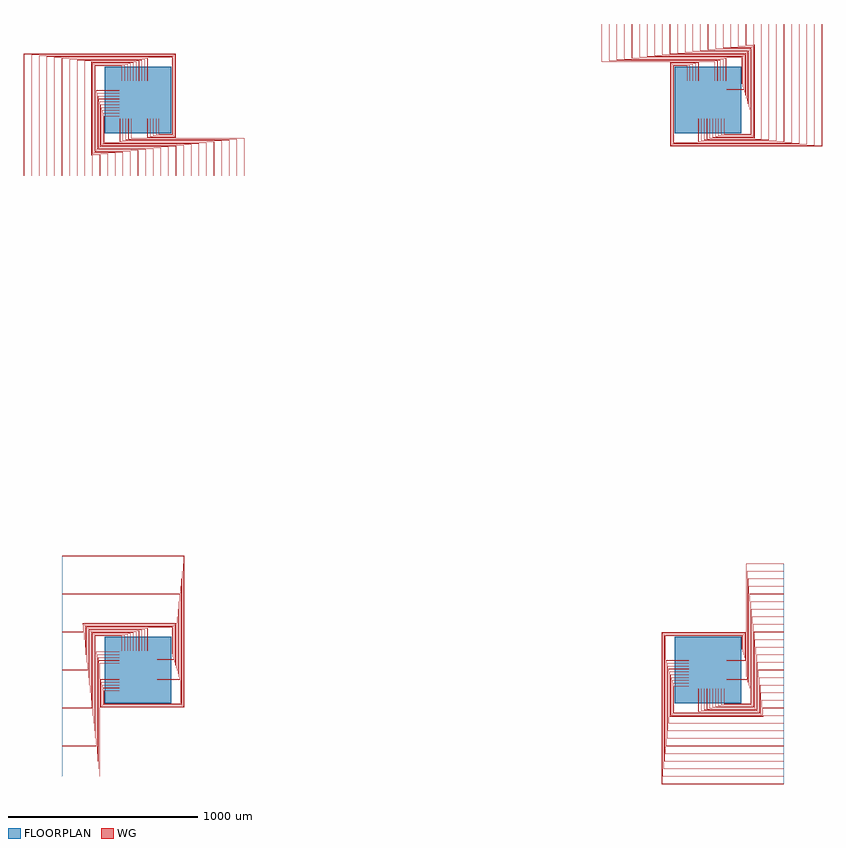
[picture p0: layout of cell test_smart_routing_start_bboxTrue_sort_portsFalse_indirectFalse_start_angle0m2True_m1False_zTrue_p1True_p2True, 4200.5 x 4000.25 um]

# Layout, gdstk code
import gdstk
lib = gdstk.Library(unit=1e-6, precision=1e-09)
def R(c, l, rs):  # rectangles x0, y0, x1, y1
    for r in rs: c.add(gdstk.rectangle(r[:2], r[2:], *l))
def P(c, l, *ps):  # polygons
    for p in ps: c.add(gdstk.Polygon(p, *l))
WG = (1, 0)
FLOORPLAN = (10, 0)

test_smart_routing_start = lib.new_cell('test_smart_routing_start_bboxTrue_sort_portsFalse_indirectFalse_start_angle0m2True_m1False_zTrue_p1True_p2True')
P(test_smart_routing_start, WG, [(2802.8,2757.8),(2802.8,3197.2),(2949.95,3197.2),(2949.95,3100),(2949.75,3100),(2949.75,3197),(2803,3197),(2803,2758),(3599.75,2758),(3599.75,3400),(3599.95,3400),(3599.95,2757.8)],
  [(2802.5,2757.5),(2802.5,3197.5),(2950.25,3197.5),(2950.25,3100),(2950.05,3100),(2950.05,3197.3),(2802.7,3197.3),(2802.7,2757.7),(3600.05,2757.7),(3600.05,3400),(3600.25,3400),(3600.25,2757.5)],
  [(2807.3,2762.3),(2807.3,3192.7),(2934.95,3192.7),(2934.95,3100),(2934.75,3100),(2934.75,3192.5),(2807.5,3192.5),(2807.5,2762.5),(3559.75,2762.5),(3559.75,3400),(3559.95,3400),(3559.95,2762.3)],
  [(2807,2762),(2807,3193),(2935.25,3193),(2935.25,3100),(2935.05,3100),(2935.05,3192.8),(2807.2,3192.8),(2807.2,2762.2),(3560.05,2762.2),(3560.05,3400),(3560.25,3400),(3560.25,2762)],
  [(2811.8,2766.8),(2811.8,3188.2),(2919.95,3188.2),(2919.95,3100),(2919.75,3100),(2919.75,3188),(2812,3188),(2812,2767),(3519.75,2767),(3519.75,3400),(3519.95,3400),(3519.95,2766.8)],
  [(2811.5,2766.5),(2811.5,3188.5),(2920.25,3188.5),(2920.25,3100),(2920.05,3100),(2920.05,3188.3),(2811.7,3188.3),(2811.7,2766.7),(3520.05,2766.7),(3520.05,3400),(3520.25,3400),(3520.25,2766.5)],
  [(2816.3,2771.3),(2816.3,3183.7),(2904.95,3183.7),(2904.95,3100),(2904.75,3100),(2904.75,3183.5),(2816.5,3183.5),(2816.5,2771.5),(3479.75,2771.5),(3479.75,3400),(3479.95,3400),(3479.95,2771.3)],
  [(2816,2771),(2816,3184),(2905.25,3184),(2905.25,3100),(2905.05,3100),(2905.05,3183.8),(2816.2,3183.8),(2816.2,2771.2),(3480.05,2771.2),(3480.05,3400),(3480.25,3400),(3480.25,2771)],
  [(2820.8,2775.8),(2820.8,3179.2),(2889.95,3179.2),(2889.95,3100),(2889.75,3100),(2889.75,3179),(2821,3179),(2821,2776),(3439.75,2776),(3439.75,3400),(3439.95,3400),(3439.95,2775.8)],
  [(2820.5,2775.5),(2820.5,3179.5),(2890.25,3179.5),(2890.25,3100),(2890.05,3100),(2890.05,3179.3),(2820.7,3179.3),(2820.7,2775.7),(3440.05,2775.7),(3440.05,3400),(3440.25,3400),(3440.25,2775.5)],
  [(2950.05,2780.3),(2950.05,2900),(2950.25,2900),(2950.25,2780.5),(3399.75,2780.5),(3399.75,3400),(3399.95,3400),(3399.95,2780.3)],
  [(2949.75,2780),(2949.75,2900),(2949.95,2900),(2949.95,2780.2),(3400.05,2780.2),(3400.05,3400),(3400.25,3400),(3400.25,2780)],
  [(2965.05,2784.8),(2965.05,2900),(2965.25,2900),(2965.25,2785),(3359.75,2785),(3359.75,3400),(3359.95,3400),(3359.95,2784.8)],
  [(2964.75,2784.5),(2964.75,2900),(2964.95,2900),(2964.95,2784.7),(3360.05,2784.7),(3360.05,3400),(3360.25,3400),(3360.25,2784.5)],
  [(2980.05,2789.3),(2980.05,2900),(2980.25,2900),(2980.25,2789.5),(3319.75,2789.5),(3319.75,3400),(3319.95,3400),(3319.95,2789.3)],
  [(2979.75,2789),(2979.75,2900),(2979.95,2900),(2979.95,2789.2),(3320.05,2789.2),(3320.05,3400),(3320.25,3400),(3320.25,2789)],
  [(2995.05,2793.8),(2995.05,2900),(2995.25,2900),(2995.25,2794),(3279.75,2794),(3279.75,3400),(3279.95,3400),(3279.95,2793.8)],
  [(2994.75,2793.5),(2994.75,2900),(2994.95,2900),(2994.95,2793.7),(3280.05,2793.7),(3280.05,3400),(3280.25,3400),(3280.25,2793.5)],
  [(3010.05,2798.3),(3010.05,2900),(3010.25,2900),(3010.25,2798.5),(3246.5,2798.5),(3246.5,3291.5),(3239.75,3291.5),(3239.75,3400),(3239.95,3400),(3239.95,3291.7),(3246.7,3291.7),(3246.7,2798.3)],
  [(3009.75,2798),(3009.75,2900),(3009.95,2900),(3009.95,2798.2),(3246.8,2798.2),(3246.8,3291.8),(3240.05,3291.8),(3240.05,3400),(3240.25,3400),(3240.25,3292),(3247,3292),(3247,2798)],
  [(3025.05,2802.8),(3025.05,2900),(3025.25,2900),(3025.25,2803),(3242,2803),(3242,3287),(3199.75,3287),(3199.75,3400),(3199.95,3400),(3199.95,3287.2),(3242.2,3287.2),(3242.2,2802.8)],
  [(3024.75,2802.5),(3024.75,2900),(3024.95,2900),(3024.95,2802.7),(3242.3,2802.7),(3242.3,3287.3),(3200.05,3287.3),(3200.05,3400),(3200.25,3400),(3200.25,3287.5),(3242.5,3287.5),(3242.5,2802.5)],
  [(3040.05,2807.3),(3040.05,2900),(3040.25,2900),(3040.25,2807.5),(3237.5,2807.5),(3237.5,3282.5),(3159.75,3282.5),(3159.75,3400),(3159.95,3400),(3159.95,3282.7),(3237.7,3282.7),(3237.7,2807.3)],
  [(3039.75,2807),(3039.75,2900),(3039.95,2900),(3039.95,2807.2),(3237.8,2807.2),(3237.8,3282.8),(3160.05,3282.8),(3160.05,3400),(3160.25,3400),(3160.25,3283),(3238,3283),(3238,2807)],
  [(3055.05,2811.8),(3055.05,2900),(3055.25,2900),(3055.25,2812),(3233,2812),(3233,3278),(3119.75,3278),(3119.75,3400),(3119.95,3400),(3119.95,3278.2),(3233.2,3278.2),(3233.2,2811.8)],
  [(3054.75,2811.5),(3054.75,2900),(3054.95,2900),(3054.95,2811.7),(3233.3,2811.7),(3233.3,3278.3),(3120.05,3278.3),(3120.05,3400),(3120.25,3400),(3120.25,3278.5),(3233.5,3278.5),(3233.5,2811.5)],
  [(3070.05,2816.3),(3070.05,2900),(3070.25,2900),(3070.25,2816.5),(3228.5,2816.5),(3228.5,3273.5),(3079.75,3273.5),(3079.75,3400),(3079.95,3400),(3079.95,3273.7),(3228.7,3273.7),(3228.7,2816.3)],
  [(3069.75,2816),(3069.75,2900),(3069.95,2900),(3069.95,2816.2),(3228.8,2816.2),(3228.8,3273.8),(3080.05,3273.8),(3080.05,3400),(3080.25,3400),(3080.25,3274),(3229,3274),(3229,2816)],
  [(3085.05,2820.8),(3085.05,2900),(3085.25,2900),(3085.25,2821),(3224,2821),(3224,3269),(3039.75,3269),(3039.75,3400),(3039.95,3400),(3039.95,3269.2),(3224.2,3269.2),(3224.2,2820.8)],
  [(3084.75,2820.5),(3084.75,2900),(3084.95,2900),(3084.95,2820.7),(3224.3,2820.7),(3224.3,3269.3),(3040.05,3269.3),(3040.05,3400),(3040.25,3400),(3040.25,3269.5),(3224.5,3269.5),(3224.5,2820.5)],
  [(3100,2950.05),(3100,2950.25),(3219.5,2950.25),(3219.5,3264.5),(2999.75,3264.5),(2999.75,3400),(2999.95,3400),(2999.95,3264.7),(3219.7,3264.7),(3219.7,2950.05)],
  [(3100,2949.75),(3100,2949.95),(3219.8,2949.95),(3219.8,3264.8),(3000.05,3264.8),(3000.05,3400),(3000.25,3400),(3000.25,3265),(3220,3265),(3220,2949.75)],
  [(3100,2965.05),(3100,2965.25),(3215,2965.25),(3215,3260),(2959.75,3260),(2959.75,3400),(2959.95,3400),(2959.95,3260.2),(3215.2,3260.2),(3215.2,2965.05)],
  [(3100,2964.75),(3100,2964.95),(3215.3,2964.95),(3215.3,3260.3),(2960.05,3260.3),(2960.05,3400),(2960.25,3400),(2960.25,3260.5),(3215.5,3260.5),(3215.5,2964.75)],
  [(3100,2980.05),(3100,2980.25),(3210.5,2980.25),(3210.5,3255.5),(2919.75,3255.5),(2919.75,3400),(2919.95,3400),(2919.95,3255.7),(3210.7,3255.7),(3210.7,2980.05)],
  [(3100,2979.75),(3100,2979.95),(3210.8,2979.95),(3210.8,3255.8),(2920.05,3255.8),(2920.05,3400),(2920.25,3400),(2920.25,3256),(3211,3256),(3211,2979.75)],
  [(3100,2995.05),(3100,2995.25),(3206,2995.25),(3206,3251),(2879.75,3251),(2879.75,3400),(2879.95,3400),(2879.95,3251.2),(3206.2,3251.2),(3206.2,2995.05)],
  [(3100,2994.75),(3100,2994.95),(3206.3,2994.95),(3206.3,3251.3),(2880.05,3251.3),(2880.05,3400),(2880.25,3400),(2880.25,3251.5),(3206.5,3251.5),(3206.5,2994.75)],
  [(3100,3010.05),(3100,3010.25),(3201.5,3010.25),(3201.5,3246.5),(2839.75,3246.5),(2839.75,3400),(2839.95,3400),(2839.95,3246.7),(3201.7,3246.7),(3201.7,3010.05)],
  [(3100,3009.75),(3100,3009.95),(3201.8,3009.95),(3201.8,3246.8),(2840.05,3246.8),(2840.05,3400),(2840.25,3400),(2840.25,3247),(3202,3247),(3202,3009.75)],
  [(3100,3025.05),(3100,3025.25),(3197,3025.25),(3197,3242),(2799.75,3242),(2799.75,3400),(2799.95,3400),(2799.95,3242.2),(3197.2,3242.2),(3197.2,3025.05)],
  [(3100,3024.75),(3100,3024.95),(3197.3,3024.95),(3197.3,3242.3),(2800.05,3242.3),(2800.05,3400),(2800.25,3400),(2800.25,3242.5),(3197.5,3242.5),(3197.5,3024.75)],
  [(3100,3040.05),(3100,3040.25),(3192.5,3040.25),(3192.5,3237.5),(2759.75,3237.5),(2759.75,3400),(2759.95,3400),(2759.95,3237.7),(3192.7,3237.7),(3192.7,3040.05)],
  [(3100,3039.75),(3100,3039.95),(3192.8,3039.95),(3192.8,3237.8),(2760.05,3237.8),(2760.05,3400),(2760.25,3400),(2760.25,3238),(3193,3238),(3193,3039.75)],
  [(3100,3055.05),(3100,3055.25),(3188,3055.25),(3188,3233),(2719.75,3233),(2719.75,3400),(2719.95,3400),(2719.95,3233.2),(3188.2,3233.2),(3188.2,3055.05)],
  [(3100,3054.75),(3100,3054.95),(3188.3,3054.95),(3188.3,3233.3),(2720.05,3233.3),(2720.05,3400),(2720.25,3400),(2720.25,3233.5),(3188.5,3233.5),(3188.5,3054.75)],
  [(3100,3070.05),(3100,3070.25),(3183.5,3070.25),(3183.5,3228.5),(2679.75,3228.5),(2679.75,3400),(2679.95,3400),(2679.95,3228.7),(3183.7,3228.7),(3183.7,3070.05)],
  [(3100,3069.75),(3100,3069.95),(3183.8,3069.95),(3183.8,3228.8),(2680.05,3228.8),(2680.05,3400),(2680.25,3400),(2680.25,3229),(3184,3229),(3184,3069.75)],
  [(3100,3085.05),(3100,3085.25),(3179,3085.25),(3179,3224),(2639.75,3224),(2639.75,3400),(2639.95,3400),(2639.95,3224.2),(3179.2,3224.2),(3179.2,3085.05)],
  [(3100,3084.75),(3100,3084.95),(3179.3,3084.95),(3179.3,3224.3),(2640.05,3224.3),(2640.05,3400),(2640.25,3400),(2640.25,3224.5),(3179.5,3224.5),(3179.5,3084.75)],
  [(3034.75,3100),(3034.75,3201.5),(2439.75,3201.5),(2439.75,3400),(2439.95,3400),(2439.95,3201.7),(3034.95,3201.7),(3034.95,3100)],
  [(3035.05,3100),(3035.05,3201.8),(2440.05,3201.8),(2440.05,3400),(2440.25,3400),(2440.25,3202),(3035.25,3202),(3035.25,3100)],
  [(3049.75,3100),(3049.75,3206),(2479.75,3206),(2479.75,3400),(2479.95,3400),(2479.95,3206.2),(3049.95,3206.2),(3049.95,3100)],
  [(3050.05,3100),(3050.05,3206.3),(2480.05,3206.3),(2480.05,3400),(2480.25,3400),(2480.25,3206.5),(3050.25,3206.5),(3050.25,3100)],
  [(3064.75,3100),(3064.75,3210.5),(2519.75,3210.5),(2519.75,3400),(2519.95,3400),(2519.95,3210.7),(3064.95,3210.7),(3064.95,3100)],
  [(3065.05,3100),(3065.05,3210.8),(2520.05,3210.8),(2520.05,3400),(2520.25,3400),(2520.25,3211),(3065.25,3211),(3065.25,3100)],
  [(3079.75,3100),(3079.75,3215),(2559.75,3215),(2559.75,3400),(2559.95,3400),(2559.95,3215.2),(3079.95,3215.2),(3079.95,3100)],
  [(3080.05,3100),(3080.05,3215.3),(2560.05,3215.3),(2560.05,3400),(2560.25,3400),(2560.25,3215.5),(3080.25,3215.5),(3080.25,3100)],
  [(3094.75,3100),(3094.75,3219.5),(2599.75,3219.5),(2599.75,3400),(2599.95,3400),(2599.95,3219.7),(3094.95,3219.7),(3094.95,3100)],
  [(3095.05,3100),(3095.05,3219.8),(2600.05,3219.8),(2600.05,3400),(2600.25,3400),(2600.25,3220),(3095.25,3220),(3095.25,3100)],
  [(-599.95,2600),(-599.95,3242.2),(197.2,3242.2),(197.2,2802.8),(50.05,2802.8),(50.05,2900),(50.25,2900),(50.25,2803),(197,2803),(197,3242),(-599.75,3242),(-599.75,2600)],
  [(-600.25,2600),(-600.25,3242.5),(197.5,3242.5),(197.5,2802.5),(49.75,2802.5),(49.75,2900),(49.95,2900),(49.95,2802.7),(197.3,2802.7),(197.3,3242.3),(-600.05,3242.3),(-600.05,2600)],
  [(-559.95,2600),(-559.95,3237.7),(192.7,3237.7),(192.7,2807.3),(65.05,2807.3),(65.05,2900),(65.25,2900),(65.25,2807.5),(192.5,2807.5),(192.5,3237.5),(-559.75,3237.5),(-559.75,2600)],
  [(-560.25,2600),(-560.25,3238),(193,3238),(193,2807),(64.75,2807),(64.75,2900),(64.95,2900),(64.95,2807.2),(192.8,2807.2),(192.8,3237.8),(-560.05,3237.8),(-560.05,2600)],
  [(-519.95,2600),(-519.95,3233.2),(188.2,3233.2),(188.2,2811.8),(80.05,2811.8),(80.05,2900),(80.25,2900),(80.25,2812),(188,2812),(188,3233),(-519.75,3233),(-519.75,2600)],
  [(-520.25,2600),(-520.25,3233.5),(188.5,3233.5),(188.5,2811.5),(79.75,2811.5),(79.75,2900),(79.95,2900),(79.95,2811.7),(188.3,2811.7),(188.3,3233.3),(-520.05,3233.3),(-520.05,2600)],
  [(-479.95,2600),(-479.95,3228.7),(183.7,3228.7),(183.7,2816.3),(95.05,2816.3),(95.05,2900),(95.25,2900),(95.25,2816.5),(183.5,2816.5),(183.5,3228.5),(-479.75,3228.5),(-479.75,2600)],
  [(-480.25,2600),(-480.25,3229),(184,3229),(184,2816),(94.75,2816),(94.75,2900),(94.95,2900),(94.95,2816.2),(183.8,2816.2),(183.8,3228.8),(-480.05,3228.8),(-480.05,2600)],
  [(-439.95,2600),(-439.95,3224.2),(179.2,3224.2),(179.2,2820.8),(110.05,2820.8),(110.05,2900),(110.25,2900),(110.25,2821),(179,2821),(179,3224),(-439.75,3224),(-439.75,2600)],
  [(-440.25,2600),(-440.25,3224.5),(179.5,3224.5),(179.5,2820.5),(109.75,2820.5),(109.75,2900),(109.95,2900),(109.95,2820.7),(179.3,2820.7),(179.3,3224.3),(-440.05,3224.3),(-440.05,2600)],
  [(-399.95,2600),(-399.95,3219.7),(49.95,3219.7),(49.95,3100),(49.75,3100),(49.75,3219.5),(-399.75,3219.5),(-399.75,2600)],
  [(-400.25,2600),(-400.25,3220),(50.25,3220),(50.25,3100),(50.05,3100),(50.05,3219.8),(-400.05,3219.8),(-400.05,2600)],
  [(-359.95,2600),(-359.95,3215.2),(34.95,3215.2),(34.95,3100),(34.75,3100),(34.75,3215),(-359.75,3215),(-359.75,2600)],
  [(-360.25,2600),(-360.25,3215.5),(35.25,3215.5),(35.25,3100),(35.05,3100),(35.05,3215.3),(-360.05,3215.3),(-360.05,2600)],
  [(-319.95,2600),(-319.95,3210.7),(19.95,3210.7),(19.95,3100),(19.75,3100),(19.75,3210.5),(-319.75,3210.5),(-319.75,2600)],
  [(-320.25,2600),(-320.25,3211),(20.25,3211),(20.25,3100),(20.05,3100),(20.05,3210.8),(-320.05,3210.8),(-320.05,2600)],
  [(-279.95,2600),(-279.95,3206.2),(4.95,3206.2),(4.95,3100),(4.75,3100),(4.75,3206),(-279.75,3206),(-279.75,2600)],
  [(-280.25,2600),(-280.25,3206.5),(5.25,3206.5),(5.25,3100),(5.05,3100),(5.05,3206.3),(-280.05,3206.3),(-280.05,2600)],
  [(-239.95,2600),(-239.95,2708.3),(-246.7,2708.3),(-246.7,3201.7),(-10.05,3201.7),(-10.05,3100),(-10.25,3100),(-10.25,3201.5),(-246.5,3201.5),(-246.5,2708.5),(-239.75,2708.5),(-239.75,2600)],
  [(-240.25,2600),(-240.25,2708),(-247,2708),(-247,3202),(-9.75,3202),(-9.75,3100),(-9.95,3100),(-9.95,3201.8),(-246.8,3201.8),(-246.8,2708.2),(-240.05,2708.2),(-240.05,2600)],
  [(-199.95,2600),(-199.95,2712.8),(-242.2,2712.8),(-242.2,3197.2),(-25.05,3197.2),(-25.05,3100),(-25.25,3100),(-25.25,3197),(-242,3197),(-242,2713),(-199.75,2713),(-199.75,2600)],
  [(-200.25,2600),(-200.25,2712.5),(-242.5,2712.5),(-242.5,3197.5),(-24.75,3197.5),(-24.75,3100),(-24.95,3100),(-24.95,3197.3),(-242.3,3197.3),(-242.3,2712.7),(-200.05,2712.7),(-200.05,2600)],
  [(-159.95,2600),(-159.95,2717.3),(-237.7,2717.3),(-237.7,3192.7),(-40.05,3192.7),(-40.05,3100),(-40.25,3100),(-40.25,3192.5),(-237.5,3192.5),(-237.5,2717.5),(-159.75,2717.5),(-159.75,2600)],
  [(-160.25,2600),(-160.25,2717),(-238,2717),(-238,3193),(-39.75,3193),(-39.75,3100),(-39.95,3100),(-39.95,3192.8),(-237.8,3192.8),(-237.8,2717.2),(-160.05,2717.2),(-160.05,2600)],
  [(-119.95,2600),(-119.95,2721.8),(-233.2,2721.8),(-233.2,3188.2),(-55.05,3188.2),(-55.05,3100),(-55.25,3100),(-55.25,3188),(-233,3188),(-233,2722),(-119.75,2722),(-119.75,2600)],
  [(-120.25,2600),(-120.25,2721.5),(-233.5,2721.5),(-233.5,3188.5),(-54.75,3188.5),(-54.75,3100),(-54.95,3100),(-54.95,3188.3),(-233.3,3188.3),(-233.3,2721.7),(-120.05,2721.7),(-120.05,2600)],
  [(-79.95,2600),(-79.95,2726.3),(-228.7,2726.3),(-228.7,3183.7),(-70.05,3183.7),(-70.05,3100),(-70.25,3100),(-70.25,3183.5),(-228.5,3183.5),(-228.5,2726.5),(-79.75,2726.5),(-79.75,2600)],
  [(-80.25,2600),(-80.25,2726),(-229,2726),(-229,3184),(-69.75,3184),(-69.75,3100),(-69.95,3100),(-69.95,3183.8),(-228.8,3183.8),(-228.8,2726.2),(-80.05,2726.2),(-80.05,2600)],
  [(-39.95,2600),(-39.95,2730.8),(-224.2,2730.8),(-224.2,3179.2),(-85.05,3179.2),(-85.05,3100),(-85.25,3100),(-85.25,3179),(-224,3179),(-224,2731),(-39.75,2731),(-39.75,2600)],
  [(-40.25,2600),(-40.25,2730.5),(-224.5,2730.5),(-224.5,3179.5),(-84.75,3179.5),(-84.75,3100),(-84.95,3100),(-84.95,3179.3),(-224.3,3179.3),(-224.3,2730.7),(-40.05,2730.7),(-40.05,2600)],
  [(0.05,2600),(0.05,2735.3),(-219.7,2735.3),(-219.7,3049.95),(-100,3049.95),(-100,3049.75),(-219.5,3049.75),(-219.5,2735.5),(0.25,2735.5),(0.25,2600)],
  [(-0.25,2600),(-0.25,2735),(-220,2735),(-220,3050.25),(-100,3050.25),(-100,3050.05),(-219.8,3050.05),(-219.8,2735.2),(-0.05,2735.2),(-0.05,2600)],
  [(40.05,2600),(40.05,2739.8),(-215.2,2739.8),(-215.2,3034.95),(-100,3034.95),(-100,3034.75),(-215,3034.75),(-215,2740),(40.25,2740),(40.25,2600)],
  [(39.75,2600),(39.75,2739.5),(-215.5,2739.5),(-215.5,3035.25),(-100,3035.25),(-100,3035.05),(-215.3,3035.05),(-215.3,2739.7),(39.95,2739.7),(39.95,2600)],
  [(80.05,2600),(80.05,2744.3),(-210.7,2744.3),(-210.7,3019.95),(-100,3019.95),(-100,3019.75),(-210.5,3019.75),(-210.5,2744.5),(80.25,2744.5),(80.25,2600)],
  [(79.75,2600),(79.75,2744),(-211,2744),(-211,3020.25),(-100,3020.25),(-100,3020.05),(-210.8,3020.05),(-210.8,2744.2),(79.95,2744.2),(79.95,2600)],
  [(120.05,2600),(120.05,2748.8),(-206.2,2748.8),(-206.2,3004.95),(-100,3004.95),(-100,3004.75),(-206,3004.75),(-206,2749),(120.25,2749),(120.25,2600)],
  [(119.75,2600),(119.75,2748.5),(-206.5,2748.5),(-206.5,3005.25),(-100,3005.25),(-100,3005.05),(-206.3,3005.05),(-206.3,2748.7),(119.95,2748.7),(119.95,2600)],
  [(160.05,2600),(160.05,2753.3),(-201.7,2753.3),(-201.7,2989.95),(-100,2989.95),(-100,2989.75),(-201.5,2989.75),(-201.5,2753.5),(160.25,2753.5),(160.25,2600)],
  [(159.75,2600),(159.75,2753),(-202,2753),(-202,2990.25),(-100,2990.25),(-100,2990.05),(-201.8,2990.05),(-201.8,2753.2),(159.95,2753.2),(159.95,2600)],
  [(200.05,2600),(200.05,2757.8),(-197.2,2757.8),(-197.2,2974.95),(-100,2974.95),(-100,2974.75),(-197,2974.75),(-197,2758),(200.25,2758),(200.25,2600)],
  [(199.75,2600),(199.75,2757.5),(-197.5,2757.5),(-197.5,2975.25),(-100,2975.25),(-100,2975.05),(-197.3,2975.05),(-197.3,2757.7),(199.95,2757.7),(199.95,2600)],
  [(240.05,2600),(240.05,2762.3),(-192.7,2762.3),(-192.7,2959.95),(-100,2959.95),(-100,2959.75),(-192.5,2959.75),(-192.5,2762.5),(240.25,2762.5),(240.25,2600)],
  [(239.75,2600),(239.75,2762),(-193,2762),(-193,2960.25),(-100,2960.25),(-100,2960.05),(-192.8,2960.05),(-192.8,2762.2),(239.95,2762.2),(239.95,2600)],
  [(280.05,2600),(280.05,2766.8),(-188.2,2766.8),(-188.2,2944.95),(-100,2944.95),(-100,2944.75),(-188,2944.75),(-188,2767),(280.25,2767),(280.25,2600)],
  [(279.75,2600),(279.75,2766.5),(-188.5,2766.5),(-188.5,2945.25),(-100,2945.25),(-100,2945.05),(-188.3,2945.05),(-188.3,2766.7),(279.95,2766.7),(279.95,2600)],
  [(320.05,2600),(320.05,2771.3),(-183.7,2771.3),(-183.7,2929.95),(-100,2929.95),(-100,2929.75),(-183.5,2929.75),(-183.5,2771.5),(320.25,2771.5),(320.25,2600)],
  [(319.75,2600),(319.75,2771),(-184,2771),(-184,2930.25),(-100,2930.25),(-100,2930.05),(-183.8,2930.05),(-183.8,2771.2),(319.95,2771.2),(319.95,2600)],
  [(360.05,2600),(360.05,2775.8),(-179.2,2775.8),(-179.2,2914.95),(-100,2914.95),(-100,2914.75),(-179,2914.75),(-179,2776),(360.25,2776),(360.25,2600)],
  [(359.75,2600),(359.75,2775.5),(-179.5,2775.5),(-179.5,2915.25),(-100,2915.25),(-100,2915.05),(-179.3,2915.05),(-179.3,2775.7),(359.95,2775.7),(359.95,2600)],
  [(559.75,2600),(559.75,2798),(-35.25,2798),(-35.25,2900),(-35.05,2900),(-35.05,2798.2),(559.95,2798.2),(559.95,2600)],
  [(560.05,2600),(560.05,2798.3),(-34.95,2798.3),(-34.95,2900),(-34.75,2900),(-34.75,2798.5),(560.25,2798.5),(560.25,2600)],
  [(519.75,2600),(519.75,2793.5),(-50.25,2793.5),(-50.25,2900),(-50.05,2900),(-50.05,2793.7),(519.95,2793.7),(519.95,2600)],
  [(520.05,2600),(520.05,2793.8),(-49.95,2793.8),(-49.95,2900),(-49.75,2900),(-49.75,2794),(520.25,2794),(520.25,2600)],
  [(479.75,2600),(479.75,2789),(-65.25,2789),(-65.25,2900),(-65.05,2900),(-65.05,2789.2),(479.95,2789.2),(479.95,2600)],
  [(480.05,2600),(480.05,2789.3),(-64.95,2789.3),(-64.95,2900),(-64.75,2900),(-64.75,2789.5),(480.25,2789.5),(480.25,2600)],
  [(439.75,2600),(439.75,2784.5),(-80.25,2784.5),(-80.25,2900),(-80.05,2900),(-80.05,2784.7),(439.95,2784.7),(439.95,2600)],
  [(440.05,2600),(440.05,2784.8),(-79.95,2784.8),(-79.95,2900),(-79.75,2900),(-79.75,2785),(440.25,2785),(440.25,2600)],
  [(399.75,2600),(399.75,2780),(-95.25,2780),(-95.25,2900),(-95.05,2900),(-95.05,2780.2),(399.95,2780.2),(399.95,2600)],
  [(400.05,2600),(400.05,2780.3),(-94.95,2780.3),(-94.95,2900),(-94.75,2900),(-94.75,2780.5),(400.25,2780.5),(400.25,2600)],
  [(-197.2,-197.2),(-197.2,-50.05),(-100,-50.05),(-100,-50.25),(-197,-50.25),(-197,-197),(242,-197),(242,599.75),(-400,599.75),(-400,599.95),(242.2,599.95),(242.2,-197.2)],
  [(-197.5,-197.5),(-197.5,-49.75),(-100,-49.75),(-100,-49.95),(-197.3,-49.95),(-197.3,-197.3),(242.3,-197.3),(242.3,600.05),(-400,600.05),(-400,600.25),(242.5,600.25),(242.5,-197.5)],
  [(-192.7,-192.7),(-192.7,-65.05),(-100,-65.05),(-100,-65.25),(-192.5,-65.25),(-192.5,-192.5),(237.5,-192.5),(237.5,559.75),(-400,559.75),(-400,559.95),(237.7,559.95),(237.7,-192.7)],
  [(-193,-193),(-193,-64.75),(-100,-64.75),(-100,-64.95),(-192.8,-64.95),(-192.8,-192.8),(237.8,-192.8),(237.8,560.05),(-400,560.05),(-400,560.25),(238,560.25),(238,-193)],
  [(-188.2,-188.2),(-188.2,-80.05),(-100,-80.05),(-100,-80.25),(-188,-80.25),(-188,-188),(233,-188),(233,519.75),(-400,519.75),(-400,519.95),(233.2,519.95),(233.2,-188.2)],
  [(-188.5,-188.5),(-188.5,-79.75),(-100,-79.75),(-100,-79.95),(-188.3,-79.95),(-188.3,-188.3),(233.3,-188.3),(233.3,520.05),(-400,520.05),(-400,520.25),(233.5,520.25),(233.5,-188.5)],
  [(-183.7,-183.7),(-183.7,-95.05),(-100,-95.05),(-100,-95.25),(-183.5,-95.25),(-183.5,-183.5),(228.5,-183.5),(228.5,479.75),(-400,479.75),(-400,479.95),(228.7,479.95),(228.7,-183.7)],
  [(-184,-184),(-184,-94.75),(-100,-94.75),(-100,-94.95),(-183.8,-94.95),(-183.8,-183.8),(228.8,-183.8),(228.8,480.05),(-400,480.05),(-400,480.25),(229,480.25),(229,-184)],
  [(-179.2,-179.2),(-179.2,-110.05),(-100,-110.05),(-100,-110.25),(-179,-110.25),(-179,-179),(224,-179),(224,439.75),(-400,439.75),(-400,439.95),(224.2,439.95),(224.2,-179.2)],
  [(-179.5,-179.5),(-179.5,-109.75),(-100,-109.75),(-100,-109.95),(-179.3,-109.95),(-179.3,-179.3),(224.3,-179.3),(224.3,440.05),(-400,440.05),(-400,440.25),(224.5,440.25),(224.5,-179.5)],
  [(100,-49.95),(100,-49.75),(219.5,-49.75),(219.5,399.75),(-400,399.75),(-400,399.95),(219.7,399.95),(219.7,-49.95)],
  [(100,-50.25),(100,-50.05),(219.8,-50.05),(219.8,400.05),(-400,400.05),(-400,400.25),(220,400.25),(220,-50.25)],
  [(100,-34.95),(100,-34.75),(215,-34.75),(215,359.75),(-400,359.75),(-400,359.95),(215.2,359.95),(215.2,-34.95)],
  [(100,-35.25),(100,-35.05),(215.3,-35.05),(215.3,360.05),(-400,360.05),(-400,360.25),(215.5,360.25),(215.5,-35.25)],
  [(100,-19.95),(100,-19.75),(210.5,-19.75),(210.5,319.75),(-400,319.75),(-400,319.95),(210.7,319.95),(210.7,-19.95)],
  [(100,-20.25),(100,-20.05),(210.8,-20.05),(210.8,320.05),(-400,320.05),(-400,320.25),(211,320.25),(211,-20.25)],
  [(100,-4.95),(100,-4.75),(206,-4.75),(206,279.75),(-400,279.75),(-400,279.95),(206.2,279.95),(206.2,-4.95)],
  [(100,-5.25),(100,-5.05),(206.3,-5.05),(206.3,280.05),(-400,280.05),(-400,280.25),(206.5,280.25),(206.5,-5.25)],
  [(100,10.05),(100,10.25),(201.5,10.25),(201.5,246.5),(-291.5,246.5),(-291.5,239.75),(-400,239.75),(-400,239.95),(-291.7,239.95),(-291.7,246.7),(201.7,246.7),(201.7,10.05)],
  [(100,9.75),(100,9.95),(201.8,9.95),(201.8,246.8),(-291.8,246.8),(-291.8,240.05),(-400,240.05),(-400,240.25),(-292,240.25),(-292,247),(202,247),(202,9.75)],
  [(100,25.05),(100,25.25),(197,25.25),(197,242),(-287,242),(-287,199.75),(-400,199.75),(-400,199.95),(-287.2,199.95),(-287.2,242.2),(197.2,242.2),(197.2,25.05)],
  [(100,24.75),(100,24.95),(197.3,24.95),(197.3,242.3),(-287.3,242.3),(-287.3,200.05),(-400,200.05),(-400,200.25),(-287.5,200.25),(-287.5,242.5),(197.5,242.5),(197.5,24.75)],
  [(100,40.05),(100,40.25),(192.5,40.25),(192.5,237.5),(-282.5,237.5),(-282.5,159.75),(-400,159.75),(-400,159.95),(-282.7,159.95),(-282.7,237.7),(192.7,237.7),(192.7,40.05)],
  [(100,39.75),(100,39.95),(192.8,39.95),(192.8,237.8),(-282.8,237.8),(-282.8,160.05),(-400,160.05),(-400,160.25),(-283,160.25),(-283,238),(193,238),(193,39.75)],
  [(100,55.05),(100,55.25),(188,55.25),(188,233),(-278,233),(-278,119.75),(-400,119.75),(-400,119.95),(-278.2,119.95),(-278.2,233.2),(188.2,233.2),(188.2,55.05)],
  [(100,54.75),(100,54.95),(188.3,54.95),(188.3,233.3),(-278.3,233.3),(-278.3,120.05),(-400,120.05),(-400,120.25),(-278.5,120.25),(-278.5,233.5),(188.5,233.5),(188.5,54.75)],
  [(100,70.05),(100,70.25),(183.5,70.25),(183.5,228.5),(-273.5,228.5),(-273.5,79.75),(-400,79.75),(-400,79.95),(-273.7,79.95),(-273.7,228.7),(183.7,228.7),(183.7,70.05)],
  [(100,69.75),(100,69.95),(183.8,69.95),(183.8,228.8),(-273.8,228.8),(-273.8,80.05),(-400,80.05),(-400,80.25),(-274,80.25),(-274,229),(184,229),(184,69.75)],
  [(-400,39.75),(-400,39.95),(-269.2,39.95),(-269.2,224.2),(179.2,224.2),(179.2,85.05),(100,85.05),(100,85.25),(179,85.25),(179,224),(-269,224),(-269,39.75)],
  [(-400,40.05),(-400,40.25),(-269.5,40.25),(-269.5,224.5),(179.5,224.5),(179.5,84.75),(100,84.75),(100,84.95),(179.3,84.95),(179.3,224.3),(-269.3,224.3),(-269.3,40.05)],
  [(-400,-0.25),(-400,-0.05),(-264.7,-0.05),(-264.7,219.7),(49.95,219.7),(49.95,100),(49.75,100),(49.75,219.5),(-264.5,219.5),(-264.5,-0.25)],
  [(-400,0.05),(-400,0.25),(-265,0.25),(-265,220),(50.25,220),(50.25,100),(50.05,100),(50.05,219.8),(-264.8,219.8),(-264.8,0.05)],
  [(-400,-40.25),(-400,-40.05),(-260.2,-40.05),(-260.2,215.2),(34.95,215.2),(34.95,100),(34.75,100),(34.75,215),(-260,215),(-260,-40.25)],
  [(-400,-39.95),(-400,-39.75),(-260.5,-39.75),(-260.5,215.5),(35.25,215.5),(35.25,100),(35.05,100),(35.05,215.3),(-260.3,215.3),(-260.3,-39.95)],
  [(-400,-80.25),(-400,-80.05),(-255.7,-80.05),(-255.7,210.7),(19.95,210.7),(19.95,100),(19.75,100),(19.75,210.5),(-255.5,210.5),(-255.5,-80.25)],
  [(-400,-79.95),(-400,-79.75),(-256,-79.75),(-256,211),(20.25,211),(20.25,100),(20.05,100),(20.05,210.8),(-255.8,210.8),(-255.8,-79.95)],
  [(-400,-120.25),(-400,-120.05),(-251.2,-120.05),(-251.2,206.2),(4.95,206.2),(4.95,100),(4.75,100),(4.75,206),(-251,206),(-251,-120.25)],
  [(-400,-119.95),(-400,-119.75),(-251.5,-119.75),(-251.5,206.5),(5.25,206.5),(5.25,100),(5.05,100),(5.05,206.3),(-251.3,206.3),(-251.3,-119.95)],
  [(-400,-160.25),(-400,-160.05),(-246.7,-160.05),(-246.7,201.7),(-10.05,201.7),(-10.05,100),(-10.25,100),(-10.25,201.5),(-246.5,201.5),(-246.5,-160.25)],
  [(-400,-159.95),(-400,-159.75),(-247,-159.75),(-247,202),(-9.75,202),(-9.75,100),(-9.95,100),(-9.95,201.8),(-246.8,201.8),(-246.8,-159.95)],
  [(-400,-200.25),(-400,-200.05),(-242.2,-200.05),(-242.2,197.2),(-25.05,197.2),(-25.05,100),(-25.25,100),(-25.25,197),(-242,197),(-242,-200.25)],
  [(-400,-199.95),(-400,-199.75),(-242.5,-199.75),(-242.5,197.5),(-24.75,197.5),(-24.75,100),(-24.95,100),(-24.95,197.3),(-242.3,197.3),(-242.3,-199.95)],
  [(-400,-240.25),(-400,-240.05),(-237.7,-240.05),(-237.7,192.7),(-40.05,192.7),(-40.05,100),(-40.25,100),(-40.25,192.5),(-237.5,192.5),(-237.5,-240.25)],
  [(-400,-239.95),(-400,-239.75),(-238,-239.75),(-238,193),(-39.75,193),(-39.75,100),(-39.95,100),(-39.95,192.8),(-237.8,192.8),(-237.8,-239.95)],
  [(-400,-280.25),(-400,-280.05),(-233.2,-280.05),(-233.2,188.2),(-55.05,188.2),(-55.05,100),(-55.25,100),(-55.25,188),(-233,188),(-233,-280.25)],
  [(-400,-279.95),(-400,-279.75),(-233.5,-279.75),(-233.5,188.5),(-54.75,188.5),(-54.75,100),(-54.95,100),(-54.95,188.3),(-233.3,188.3),(-233.3,-279.95)],
  [(-400,-320.25),(-400,-320.05),(-228.7,-320.05),(-228.7,183.7),(-70.05,183.7),(-70.05,100),(-70.25,100),(-70.25,183.5),(-228.5,183.5),(-228.5,-320.25)],
  [(-400,-319.95),(-400,-319.75),(-229,-319.75),(-229,184),(-69.75,184),(-69.75,100),(-69.95,100),(-69.95,183.8),(-228.8,183.8),(-228.8,-319.95)],
  [(-400,-360.25),(-400,-360.05),(-224.2,-360.05),(-224.2,179.2),(-85.05,179.2),(-85.05,100),(-85.25,100),(-85.25,179),(-224,179),(-224,-360.25)],
  [(-400,-359.95),(-400,-359.75),(-224.5,-359.75),(-224.5,179.5),(-84.75,179.5),(-84.75,100),(-84.95,100),(-84.95,179.3),(-224.3,179.3),(-224.3,-359.95)],
  [(-400,-560.25),(-400,-560.05),(-201.7,-560.05),(-201.7,34.95),(-100,34.95),(-100,34.75),(-201.5,34.75),(-201.5,-560.25)],
  [(-400,-559.95),(-400,-559.75),(-202,-559.75),(-202,35.25),(-100,35.25),(-100,35.05),(-201.8,35.05),(-201.8,-559.95)],
  [(-400,-520.25),(-400,-520.05),(-206.2,-520.05),(-206.2,49.95),(-100,49.95),(-100,49.75),(-206,49.75),(-206,-520.25)],
  [(-400,-519.95),(-400,-519.75),(-206.5,-519.75),(-206.5,50.25),(-100,50.25),(-100,50.05),(-206.3,50.05),(-206.3,-519.95)],
  [(-400,-480.25),(-400,-480.05),(-210.7,-480.05),(-210.7,64.95),(-100,64.95),(-100,64.75),(-210.5,64.75),(-210.5,-480.25)],
  [(-400,-479.95),(-400,-479.75),(-211,-479.75),(-211,65.25),(-100,65.25),(-100,65.05),(-210.8,65.05),(-210.8,-479.95)],
  [(-400,-440.25),(-400,-440.05),(-215.2,-440.05),(-215.2,79.95),(-100,79.95),(-100,79.75),(-215,79.75),(-215,-440.25)],
  [(-400,-439.95),(-400,-439.75),(-215.5,-439.75),(-215.5,80.25),(-100,80.25),(-100,80.05),(-215.3,80.05),(-215.3,-439.95)],
  [(-400,-400.25),(-400,-400.05),(-219.7,-400.05),(-219.7,94.95),(-100,94.95),(-100,94.75),(-219.5,94.75),(-219.5,-400.25)],
  [(-400,-399.95),(-400,-399.75),(-220,-399.75),(-220,95.25),(-100,95.25),(-100,95.05),(-219.8,95.05),(-219.8,-399.95)],
  [(2757.8,-599.95),(2757.8,197.2),(3197.2,197.2),(3197.2,50.05),(3100,50.05),(3100,50.25),(3197,50.25),(3197,197),(2758,197),(2758,-599.75),(3400,-599.75),(3400,-599.95)],
  [(2757.5,-600.25),(2757.5,197.5),(3197.5,197.5),(3197.5,49.75),(3100,49.75),(3100,49.95),(3197.3,49.95),(3197.3,197.3),(2757.7,197.3),(2757.7,-600.05),(3400,-600.05),(3400,-600.25)],
  [(2762.3,-559.95),(2762.3,192.7),(3192.7,192.7),(3192.7,65.05),(3100,65.05),(3100,65.25),(3192.5,65.25),(3192.5,192.5),(2762.5,192.5),(2762.5,-559.75),(3400,-559.75),(3400,-559.95)],
  [(2762,-560.25),(2762,193),(3193,193),(3193,64.75),(3100,64.75),(3100,64.95),(3192.8,64.95),(3192.8,192.8),(2762.2,192.8),(2762.2,-560.05),(3400,-560.05),(3400,-560.25)],
  [(2766.8,-519.95),(2766.8,188.2),(3188.2,188.2),(3188.2,80.05),(3100,80.05),(3100,80.25),(3188,80.25),(3188,188),(2767,188),(2767,-519.75),(3400,-519.75),(3400,-519.95)],
  [(2766.5,-520.25),(2766.5,188.5),(3188.5,188.5),(3188.5,79.75),(3100,79.75),(3100,79.95),(3188.3,79.95),(3188.3,188.3),(2766.7,188.3),(2766.7,-520.05),(3400,-520.05),(3400,-520.25)],
  [(2771.3,-479.95),(2771.3,183.7),(3183.7,183.7),(3183.7,95.05),(3100,95.05),(3100,95.25),(3183.5,95.25),(3183.5,183.5),(2771.5,183.5),(2771.5,-479.75),(3400,-479.75),(3400,-479.95)],
  [(2771,-480.25),(2771,184),(3184,184),(3184,94.75),(3100,94.75),(3100,94.95),(3183.8,94.95),(3183.8,183.8),(2771.2,183.8),(2771.2,-480.05),(3400,-480.05),(3400,-480.25)],
  [(2775.8,-439.95),(2775.8,179.2),(3179.2,179.2),(3179.2,110.05),(3100,110.05),(3100,110.25),(3179,110.25),(3179,179),(2776,179),(2776,-439.75),(3400,-439.75),(3400,-439.95)],
  [(2775.5,-440.25),(2775.5,179.5),(3179.5,179.5),(3179.5,109.75),(3100,109.75),(3100,109.95),(3179.3,109.95),(3179.3,179.3),(2775.7,179.3),(2775.7,-440.05),(3400,-440.05),(3400,-440.25)],
  [(2780.3,-399.95),(2780.3,49.95),(2900,49.95),(2900,49.75),(2780.5,49.75),(2780.5,-399.75),(3400,-399.75),(3400,-399.95)],
  [(2780,-400.25),(2780,50.25),(2900,50.25),(2900,50.05),(2780.2,50.05),(2780.2,-400.05),(3400,-400.05),(3400,-400.25)],
  [(2784.8,-359.95),(2784.8,34.95),(2900,34.95),(2900,34.75),(2785,34.75),(2785,-359.75),(3400,-359.75),(3400,-359.95)],
  [(2784.5,-360.25),(2784.5,35.25),(2900,35.25),(2900,35.05),(2784.7,35.05),(2784.7,-360.05),(3400,-360.05),(3400,-360.25)],
  [(2789.3,-319.95),(2789.3,19.95),(2900,19.95),(2900,19.75),(2789.5,19.75),(2789.5,-319.75),(3400,-319.75),(3400,-319.95)],
  [(2789,-320.25),(2789,20.25),(2900,20.25),(2900,20.05),(2789.2,20.05),(2789.2,-320.05),(3400,-320.05),(3400,-320.25)],
  [(2793.8,-279.95),(2793.8,4.95),(2900,4.95),(2900,4.75),(2794,4.75),(2794,-279.75),(3400,-279.75),(3400,-279.95)],
  [(2793.5,-280.25),(2793.5,5.25),(2900,5.25),(2900,5.05),(2793.7,5.05),(2793.7,-280.05),(3400,-280.05),(3400,-280.25)],
  [(2798.3,-246.7),(2798.3,-10.05),(2900,-10.05),(2900,-10.25),(2798.5,-10.25),(2798.5,-246.5),(3291.5,-246.5),(3291.5,-239.75),(3400,-239.75),(3400,-239.95),(3291.7,-239.95),(3291.7,-246.7)],
  [(2798,-247),(2798,-9.75),(2900,-9.75),(2900,-9.95),(2798.2,-9.95),(2798.2,-246.8),(3291.8,-246.8),(3291.8,-240.05),(3400,-240.05),(3400,-240.25),(3292,-240.25),(3292,-247)],
  [(2802.8,-242.2),(2802.8,-25.05),(2900,-25.05),(2900,-25.25),(2803,-25.25),(2803,-242),(3287,-242),(3287,-199.75),(3400,-199.75),(3400,-199.95),(3287.2,-199.95),(3287.2,-242.2)],
  [(2802.5,-242.5),(2802.5,-24.75),(2900,-24.75),(2900,-24.95),(2802.7,-24.95),(2802.7,-242.3),(3287.3,-242.3),(3287.3,-200.05),(3400,-200.05),(3400,-200.25),(3287.5,-200.25),(3287.5,-242.5)],
  [(2807.3,-237.7),(2807.3,-40.05),(2900,-40.05),(2900,-40.25),(2807.5,-40.25),(2807.5,-237.5),(3282.5,-237.5),(3282.5,-159.75),(3400,-159.75),(3400,-159.95),(3282.7,-159.95),(3282.7,-237.7)],
  [(2807,-238),(2807,-39.75),(2900,-39.75),(2900,-39.95),(2807.2,-39.95),(2807.2,-237.8),(3282.8,-237.8),(3282.8,-160.05),(3400,-160.05),(3400,-160.25),(3283,-160.25),(3283,-238)],
  [(2811.8,-233.2),(2811.8,-55.05),(2900,-55.05),(2900,-55.25),(2812,-55.25),(2812,-233),(3278,-233),(3278,-119.75),(3400,-119.75),(3400,-119.95),(3278.2,-119.95),(3278.2,-233.2)],
  [(2811.5,-233.5),(2811.5,-54.75),(2900,-54.75),(2900,-54.95),(2811.7,-54.95),(2811.7,-233.3),(3278.3,-233.3),(3278.3,-120.05),(3400,-120.05),(3400,-120.25),(3278.5,-120.25),(3278.5,-233.5)],
  [(2816.3,-228.7),(2816.3,-70.05),(2900,-70.05),(2900,-70.25),(2816.5,-70.25),(2816.5,-228.5),(3273.5,-228.5),(3273.5,-79.75),(3400,-79.75),(3400,-79.95),(3273.7,-79.95),(3273.7,-228.7)],
  [(2816,-229),(2816,-69.75),(2900,-69.75),(2900,-69.95),(2816.2,-69.95),(2816.2,-228.8),(3273.8,-228.8),(3273.8,-80.05),(3400,-80.05),(3400,-80.25),(3274,-80.25),(3274,-229)],
  [(2820.5,-224.5),(2820.5,-84.75),(2900,-84.75),(2900,-84.95),(2820.7,-84.95),(2820.7,-224.3),(3269.3,-224.3),(3269.3,-40.05),(3400,-40.05),(3400,-40.25),(3269.5,-40.25),(3269.5,-224.5)],
  [(2820.8,-224.2),(2820.8,-85.05),(2900,-85.05),(2900,-85.25),(2821,-85.25),(2821,-224),(3269,-224),(3269,-39.75),(3400,-39.75),(3400,-39.95),(3269.2,-39.95),(3269.2,-224.2)],
  [(2949.75,-220),(2949.75,-100),(2949.95,-100),(2949.95,-219.8),(3264.8,-219.8),(3264.8,-0.05),(3400,-0.05),(3400,-0.25),(3265,-0.25),(3265,-220)],
  [(2950.05,-219.7),(2950.05,-100),(2950.25,-100),(2950.25,-219.5),(3264.5,-219.5),(3264.5,0.25),(3400,0.25),(3400,0.05),(3264.7,0.05),(3264.7,-219.7)],
  [(2964.75,-215.5),(2964.75,-100),(2964.95,-100),(2964.95,-215.3),(3260.3,-215.3),(3260.3,39.95),(3400,39.95),(3400,39.75),(3260.5,39.75),(3260.5,-215.5)],
  [(2965.05,-215.2),(2965.05,-100),(2965.25,-100),(2965.25,-215),(3260,-215),(3260,40.25),(3400,40.25),(3400,40.05),(3260.2,40.05),(3260.2,-215.2)],
  [(2979.75,-211),(2979.75,-100),(2979.95,-100),(2979.95,-210.8),(3255.8,-210.8),(3255.8,79.95),(3400,79.95),(3400,79.75),(3256,79.75),(3256,-211)],
  [(2980.05,-210.7),(2980.05,-100),(2980.25,-100),(2980.25,-210.5),(3255.5,-210.5),(3255.5,80.25),(3400,80.25),(3400,80.05),(3255.7,80.05),(3255.7,-210.7)],
  [(2994.75,-206.5),(2994.75,-100),(2994.95,-100),(2994.95,-206.3),(3251.3,-206.3),(3251.3,119.95),(3400,119.95),(3400,119.75),(3251.5,119.75),(3251.5,-206.5)],
  [(2995.05,-206.2),(2995.05,-100),(2995.25,-100),(2995.25,-206),(3251,-206),(3251,120.25),(3400,120.25),(3400,120.05),(3251.2,120.05),(3251.2,-206.2)],
  [(3009.75,-202),(3009.75,-100),(3009.95,-100),(3009.95,-201.8),(3246.8,-201.8),(3246.8,159.95),(3400,159.95),(3400,159.75),(3247,159.75),(3247,-202)],
  [(3010.05,-201.7),(3010.05,-100),(3010.25,-100),(3010.25,-201.5),(3246.5,-201.5),(3246.5,160.25),(3400,160.25),(3400,160.05),(3246.7,160.05),(3246.7,-201.7)],
  [(3024.75,-197.5),(3024.75,-100),(3024.95,-100),(3024.95,-197.3),(3242.3,-197.3),(3242.3,199.95),(3400,199.95),(3400,199.75),(3242.5,199.75),(3242.5,-197.5)],
  [(3025.05,-197.2),(3025.05,-100),(3025.25,-100),(3025.25,-197),(3242,-197),(3242,200.25),(3400,200.25),(3400,200.05),(3242.2,200.05),(3242.2,-197.2)],
  [(3039.75,-193),(3039.75,-100),(3039.95,-100),(3039.95,-192.8),(3237.8,-192.8),(3237.8,239.95),(3400,239.95),(3400,239.75),(3238,239.75),(3238,-193)],
  [(3040.05,-192.7),(3040.05,-100),(3040.25,-100),(3040.25,-192.5),(3237.5,-192.5),(3237.5,240.25),(3400,240.25),(3400,240.05),(3237.7,240.05),(3237.7,-192.7)],
  [(3054.75,-188.5),(3054.75,-100),(3054.95,-100),(3054.95,-188.3),(3233.3,-188.3),(3233.3,279.95),(3400,279.95),(3400,279.75),(3233.5,279.75),(3233.5,-188.5)],
  [(3055.05,-188.2),(3055.05,-100),(3055.25,-100),(3055.25,-188),(3233,-188),(3233,280.25),(3400,280.25),(3400,280.05),(3233.2,280.05),(3233.2,-188.2)],
  [(3069.75,-184),(3069.75,-100),(3069.95,-100),(3069.95,-183.8),(3228.8,-183.8),(3228.8,319.95),(3400,319.95),(3400,319.75),(3229,319.75),(3229,-184)],
  [(3070.05,-183.7),(3070.05,-100),(3070.25,-100),(3070.25,-183.5),(3228.5,-183.5),(3228.5,320.25),(3400,320.25),(3400,320.05),(3228.7,320.05),(3228.7,-183.7)],
  [(3084.75,-179.5),(3084.75,-100),(3084.95,-100),(3084.95,-179.3),(3224.3,-179.3),(3224.3,359.95),(3400,359.95),(3400,359.75),(3224.5,359.75),(3224.5,-179.5)],
  [(3085.05,-179.2),(3085.05,-100),(3085.25,-100),(3085.25,-179),(3224,-179),(3224,360.25),(3400,360.25),(3400,360.05),(3224.2,360.05),(3224.2,-179.2)],
  [(3100,-35.25),(3100,-35.05),(3201.8,-35.05),(3201.8,559.95),(3400,559.95),(3400,559.75),(3202,559.75),(3202,-35.25)],
  [(3100,-34.95),(3100,-34.75),(3201.5,-34.75),(3201.5,560.25),(3400,560.25),(3400,560.05),(3201.7,560.05),(3201.7,-34.95)],
  [(3100,-50.25),(3100,-50.05),(3206.3,-50.05),(3206.3,519.95),(3400,519.95),(3400,519.75),(3206.5,519.75),(3206.5,-50.25)],
  [(3100,-49.95),(3100,-49.75),(3206,-49.75),(3206,520.25),(3400,520.25),(3400,520.05),(3206.2,520.05),(3206.2,-49.95)],
  [(3100,-65.25),(3100,-65.05),(3210.8,-65.05),(3210.8,479.95),(3400,479.95),(3400,479.75),(3211,479.75),(3211,-65.25)],
  [(3100,-64.95),(3100,-64.75),(3210.5,-64.75),(3210.5,480.25),(3400,480.25),(3400,480.05),(3210.7,480.05),(3210.7,-64.95)],
  [(3100,-80.25),(3100,-80.05),(3215.3,-80.05),(3215.3,439.95),(3400,439.95),(3400,439.75),(3215.5,439.75),(3215.5,-80.25)],
  [(3100,-79.95),(3100,-79.75),(3215,-79.75),(3215,440.25),(3400,440.25),(3400,440.05),(3215.2,440.05),(3215.2,-79.95)],
  [(3100,-95.25),(3100,-95.05),(3219.8,-95.05),(3219.8,399.95),(3400,399.95),(3400,399.75),(3220,399.75),(3220,-95.25)],
  [(3100,-94.95),(3100,-94.75),(3219.5,-94.75),(3219.5,400.25),(3400,400.25),(3400,400.05),(3219.7,400.05),(3219.7,-94.95)])
R(test_smart_routing_start, FLOORPLAN, [(-175,-175,175,175), (2825,-175,3175,175), (-175,2825,175,3175), (2825,2825,3175,3175)])
P(test_smart_routing_start, FLOORPLAN, [(-400,-560),(-400,600),(-400,600),(-400,-560)],
  [(-600,2600),(-600,2600),(560,2600),(560,2600)],
  [(3400,-600),(3400,560),(3400,560),(3400,-600)],
  [(2440,3400),(2440,3400),(3600,3400),(3600,3400)])

lib.write_gds('test_smart_routing_start_bboxTrue_sort_portsFalse_indirectFalse_start_angle0m2True_m1False_zTrue_p1True_p2True.gds')
